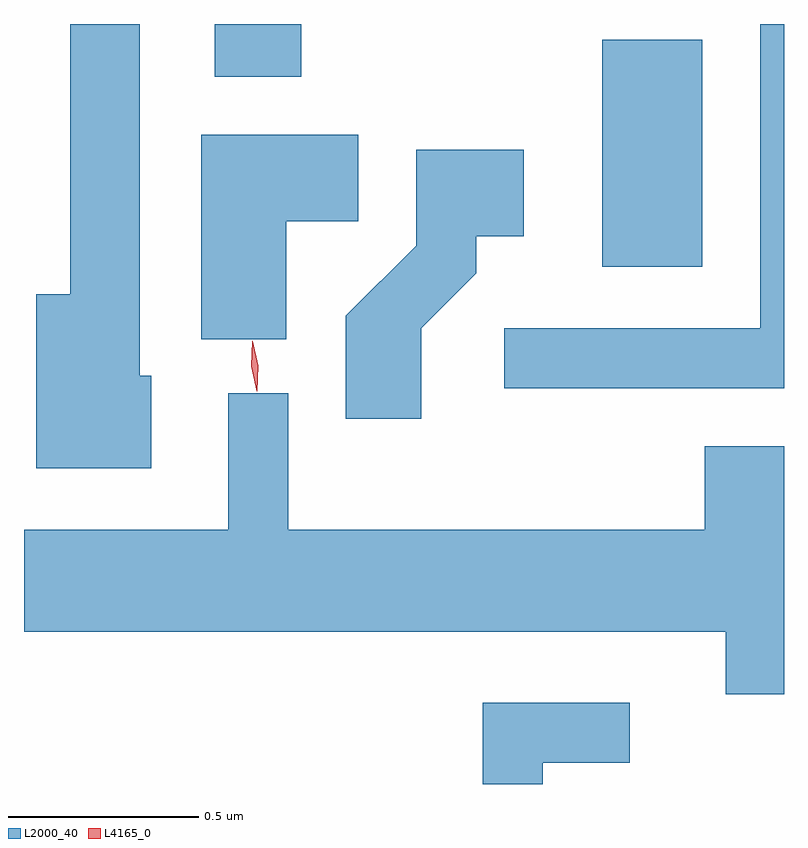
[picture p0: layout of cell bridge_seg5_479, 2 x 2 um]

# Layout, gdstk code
import gdstk
lib = gdstk.Library(unit=1e-6, precision=1e-09)
def R(c, l, rs):  # rectangles x0, y0, x1, y1
    for r in rs: c.add(gdstk.rectangle(r[:2], r[2:], *l))
def P(c, l, *ps):  # polygons
    for p in ps: c.add(gdstk.Polygon(p, *l))
L2000_40 = (2000, 40)
L4165_0 = (4165, 0)

bridge_seg5_479 = lib.new_cell('bridge_seg5_479')
R(bridge_seg5_479, L2000_40, [(218.561,1482.176,218.824,1482.774), (217.541,1482.676,217.769,1482.815)])
P(bridge_seg5_479, L2000_40, [(217.374,1481.889),(217.344,1481.889),(217.344,1482.815),(217.161,1482.815),(217.161,1482.104),(217.071,1482.104),(217.071,1481.646),(217.374,1481.646)],
  [(219.039,1482.815),(218.976,1482.815),(218.976,1482.014),(218.303,1482.014),(218.303,1481.856),(219.039,1481.856)],
  [(217.729,1482.296),(217.919,1482.296),(217.919,1482.524),(217.506,1482.524),(217.506,1481.986),(217.729,1481.986)],
  [(218.084,1482.014),(218.229,1482.159),(218.229,1482.256),(218.354,1482.256),(218.354,1482.484),(218.071,1482.484),(218.071,1482.232),(217.886,1482.047),(217.886,1481.776),(218.084,1481.776)],
  [(219.039,1481.704),(218.831,1481.704),(218.831,1481.484),(217.734,1481.484),(217.734,1481.843),(217.576,1481.843),(217.576,1481.484),(217.039,1481.484),(217.039,1481.216),(218.886,1481.216),(218.886,1481.051),(219.039,1481.051)],
  [(218.404,1480.871),(218.633,1480.871),(218.633,1481.029),(218.246,1481.029),(218.246,1480.815),(218.404,1480.815)])
P(bridge_seg5_479, L4165_0, [(217.653,1481.848),(217.652,1481.849),(217.637,1481.914),(217.64,1481.98),(217.64,1481.981),(217.641,1481.98),(217.656,1481.916),(217.653,1481.849)])

lib.write_gds('bridge_seg5_479.gds')
